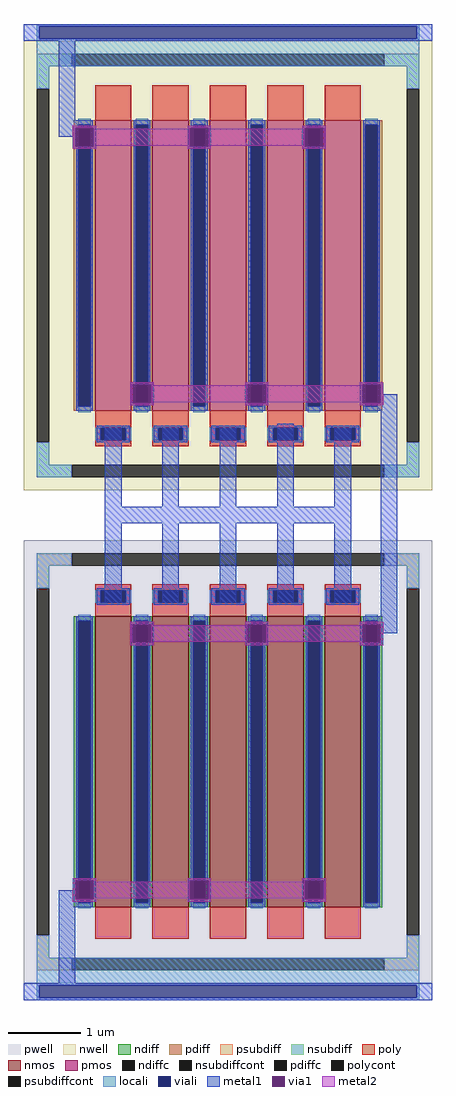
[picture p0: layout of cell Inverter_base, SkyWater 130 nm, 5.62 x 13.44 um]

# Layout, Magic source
magic
tech sky130A
magscale 1 2
<< locali >>
rect 73 1401 1125 1407
rect 73 1367 79 1401
rect 1119 1367 1125 1401
rect 73 1291 1125 1367
rect 73 -1240 1125 -1164
rect 73 -1274 79 -1240
rect 1119 -1274 1125 -1240
rect 73 -1280 1125 -1274
<< viali >>
rect 79 1367 1119 1401
rect 79 -1274 1119 -1240
<< metal1 >>
rect 37 1401 1161 1407
rect 37 1367 79 1401
rect 1119 1367 1161 1401
rect 37 1361 1161 1367
rect 133 1142 179 1361
rect 133 1127 181 1142
rect 133 1121 236 1127
rect 133 1096 178 1121
rect 172 1069 178 1096
rect 230 1069 236 1121
rect 172 1063 236 1069
rect 488 1121 552 1127
rect 488 1069 494 1121
rect 546 1069 552 1121
rect 488 1063 552 1069
rect 804 1121 868 1127
rect 804 1069 810 1121
rect 862 1069 868 1121
rect 804 1063 868 1069
rect 330 415 394 421
rect 330 363 336 415
rect 388 363 394 415
rect 330 357 394 363
rect 646 415 710 421
rect 646 363 652 415
rect 704 363 710 415
rect 646 357 710 363
rect 962 415 1026 421
rect 962 363 968 415
rect 1020 388 1026 415
rect 1020 363 1065 388
rect 962 357 1065 363
rect 1017 342 1065 357
rect 260 78 306 301
rect 418 78 464 301
rect 576 78 622 301
rect 734 78 780 307
rect 892 78 938 301
rect 260 32 938 78
rect 260 -192 306 32
rect 418 -192 464 32
rect 576 -192 622 32
rect 734 -186 780 32
rect 892 -186 938 32
rect 1019 -224 1065 342
rect 1017 -239 1065 -224
rect 330 -245 394 -239
rect 330 -297 336 -245
rect 388 -297 394 -245
rect 330 -303 394 -297
rect 646 -245 710 -239
rect 646 -297 652 -245
rect 704 -297 710 -245
rect 646 -303 710 -297
rect 962 -245 1065 -239
rect 962 -297 968 -245
rect 1020 -270 1065 -245
rect 1020 -297 1026 -270
rect 962 -303 1026 -297
rect 172 -951 236 -945
rect 172 -978 178 -951
rect 133 -1003 178 -978
rect 230 -1003 236 -951
rect 133 -1009 236 -1003
rect 488 -951 552 -945
rect 488 -1003 494 -951
rect 546 -1003 552 -951
rect 488 -1009 552 -1003
rect 804 -951 868 -945
rect 804 -1003 810 -951
rect 862 -1003 868 -951
rect 804 -1009 868 -1003
rect 133 -1024 181 -1009
rect 133 -1234 179 -1024
rect 37 -1240 1161 -1234
rect 37 -1274 79 -1240
rect 1119 -1274 1161 -1240
rect 37 -1280 1161 -1274
<< via1 >>
rect 178 1069 230 1121
rect 494 1069 546 1121
rect 810 1069 862 1121
rect 336 363 388 415
rect 652 363 704 415
rect 968 363 1020 415
rect 336 -297 388 -245
rect 652 -297 704 -245
rect 968 -297 1020 -245
rect 178 -1003 230 -951
rect 494 -1003 546 -951
rect 810 -1003 862 -951
<< metal2 >>
rect 172 1121 236 1127
rect 172 1069 178 1121
rect 230 1118 236 1121
rect 488 1121 552 1127
rect 488 1118 494 1121
rect 230 1072 494 1118
rect 230 1069 236 1072
rect 172 1063 236 1069
rect 488 1069 494 1072
rect 546 1118 552 1121
rect 804 1121 868 1127
rect 804 1118 810 1121
rect 546 1072 810 1118
rect 546 1069 552 1072
rect 488 1063 552 1069
rect 804 1069 810 1072
rect 862 1069 868 1121
rect 804 1063 868 1069
rect 330 415 394 421
rect 330 363 336 415
rect 388 412 394 415
rect 646 415 710 421
rect 646 412 652 415
rect 388 366 652 412
rect 388 363 394 366
rect 330 357 394 363
rect 646 363 652 366
rect 704 412 710 415
rect 962 415 1026 421
rect 962 412 968 415
rect 704 366 968 412
rect 704 363 710 366
rect 646 357 710 363
rect 962 363 968 366
rect 1020 363 1026 415
rect 962 357 1026 363
rect 330 -245 394 -239
rect 330 -297 336 -245
rect 388 -248 394 -245
rect 646 -245 710 -239
rect 646 -248 652 -245
rect 388 -294 652 -248
rect 388 -297 394 -294
rect 330 -303 394 -297
rect 646 -297 652 -294
rect 704 -248 710 -245
rect 962 -245 1026 -239
rect 962 -248 968 -245
rect 704 -294 968 -248
rect 704 -297 710 -294
rect 646 -303 710 -297
rect 962 -297 968 -294
rect 1020 -297 1026 -245
rect 962 -303 1026 -297
rect 172 -951 236 -945
rect 172 -1003 178 -951
rect 230 -954 236 -951
rect 488 -951 552 -945
rect 488 -954 494 -951
rect 230 -1000 494 -954
rect 230 -1003 236 -1000
rect 172 -1009 236 -1003
rect 488 -1003 494 -1000
rect 546 -954 552 -951
rect 804 -951 868 -945
rect 804 -954 810 -951
rect 546 -1000 810 -954
rect 546 -1003 552 -1000
rect 488 -1009 552 -1003
rect 804 -1003 810 -1000
rect 862 -1003 868 -951
rect 804 -1009 868 -1003
use sky130_fd_pr__nfet_01v8_TEWFY7  sky130_fd_pr__nfet_01v8_TEWFY7_0
transform 1 0 599 0 1 -624
box -562 -610 562 610
use sky130_fd_pr__pfet_01v8_X45PJH  sky130_fd_pr__pfet_01v8_X45PJH_0
transform 1 0 599 0 1 742
box -562 -619 562 619
<< end >>

# cell sky130_fd_pr__nfet_01v8_TEWFY7: kit device sky130_fd_pr__nfet_01v8, w 4 l 0.5 m 1 nf 5 diffcov 100 polycov 100 guard 1 glc 1 grc 1 gtc 1 gbc 1 tbcov 100 rlcov 100 topc 1 botc 1 poverlap 0 doverlap 1 lmin 0.15 wmin 0.42 class mosfet compatible {sky130_fd_pr__nfet_01v8 sky130_fd_pr__nfet_01v8_lvt sky130_fd_bs_flash__special_sonosfet_star sky130_fd_pr__nfet_g5v0d10v5 sky130_fd_pr__nfet_05v0_nvt sky130_fd_pr__nfet_03v3_nvt} full_metal 1 viasrc 100 viadrn 100 viagate 100 viagb 0 viagr 0 viagl 0 viagt 0

# cell sky130_fd_pr__pfet_01v8_X45PJH: kit device sky130_fd_pr__pfet_01v8, w 4 l 0.5 m 1 nf 5 diffcov 100 polycov 100 guard 1 glc 1 grc 1 gtc 1 gbc 1 tbcov 100 rlcov 100 topc 1 botc 1 poverlap 0 doverlap 1 lmin 0.15 wmin 0.42 class mosfet compatible {sky130_fd_pr__pfet_01v8 sky130_fd_pr__pfet_01v8_lvt sky130_fd_pr__pfet_01v8_hvt sky130_fd_pr__pfet_g5v0d10v5} full_metal 1 viasrc 100 viadrn 100 viagate 100 viagb 0 viagr 0 viagl 0 viagt 0
